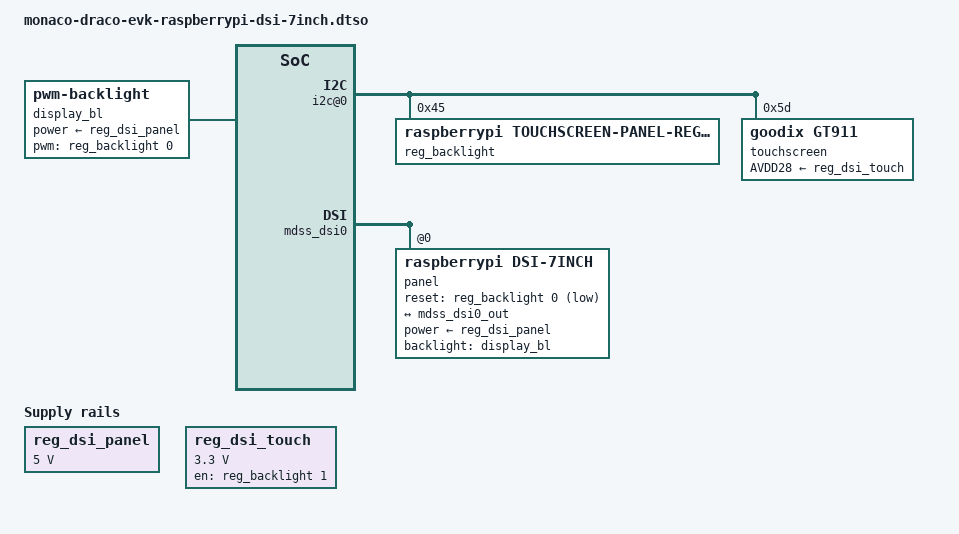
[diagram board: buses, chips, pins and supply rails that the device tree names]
// SPDX-License-Identifier: BSD-3-Clause
/*
 * Copyright (c) Qualcomm Technologies, Inc. and/or its subsidiaries.
 */

/dts-v1/;
/plugin/;

#include <dt-bindings/gpio/gpio.h>

&{/} {
	display_bl: backlight {
		compatible = "pwm-backlight";
		power-supply = <&reg_dsi_panel>;
		pwms = <&reg_backlight 0 255 0>;
	};

	reg_dsi_panel: regulator-dsi-panel {
		compatible = "regulator-fixed";
		regulator-name = "rpi-dsi-panel";
		regulator-min-microvolt = <5000000>;
		regulator-max-microvolt = <5000000>;
	};

	reg_dsi_touch: regulator-dsi-touch {
		compatible = "regulator-fixed";
		regulator-name = "rpi-touch";
		regulator-min-microvolt = <3300000>;
		regulator-max-microvolt = <3300000>;
		gpio = <&reg_backlight 1 GPIO_ACTIVE_HIGH>;
		startup-delay-us = <50000>;
		enable-active-high;
	};
};

&hdmi_bridge {
	status = "disabled";
};

&hdmi_connector {
	status = "disabled";
};

&i2c_mux {
	i2c@0 {
		reg_backlight: regulator@45 {
			compatible = "raspberrypi,touchscreen-panel-regulator-v2";
			reg = <0x45>;
			#gpio-cells = <2>;
			gpio-controller;
			#pwm-cells = <3>;
		};

		touchscreen@5d {
			compatible = "goodix,gt911";
			reg = <0x5d>;
			AVDD28-supply = <&reg_dsi_touch>;
			touchscreen-size-x = <720>;
			touchscreen-size-y = <1280>;
		};
	};
};

&mdss_dsi0 {
	#address-cells = <1>;
	#size-cells = <0>;

	status = "okay";

	panel@0 {
		compatible = "raspberrypi,dsi-7inch", "ilitek,ili9881c";
		reg = <0>;

		backlight = <&display_bl>;
		power-supply = <&reg_dsi_panel>;
		reset-gpios = <&reg_backlight 0 GPIO_ACTIVE_LOW>;

		port {
			panel0_in: endpoint {
				remote-endpoint = <&mdss_dsi0_out>;
			};
		};
	};
};

&mdss_dsi0_out {
	data-lanes = <0 1>;
	remote-endpoint = <&panel0_in>;
};
